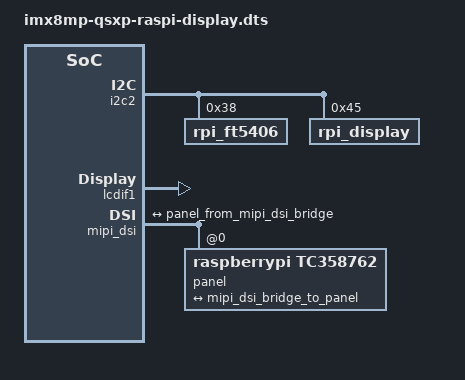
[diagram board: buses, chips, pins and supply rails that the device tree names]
// SPDX-License-Identifier: (GPL-2.0 OR MIT)
/*
 * Copyright 2022 Lothar Waßmann <LW@KARO-electronics.de>
 *
 */

/dts-v1/;

/plugin/;

&{/chosen} {
	overlays {
		qsxp-raspi-display;
	};
};

&i2c2 {
	rpi_ft5406: rpi_ft5406@38 {
		compatible = "rpi_ft5406";
		reg = <0x38>;
	};

	rpi_display: rpi_display@45 {
		compatible = "rpi_display";
		reg = <0x45>;
	};
};

&lcdif1 {
	status = "okay";
};

&mipi_dsi {
	status = "okay";

	panel@0 {
		compatible = "raspberrypi,tc358762";
		reg = <0>;
		dsi-lanes = <1>;
		video-mode = <2>;
		panel-width-mm = <154>;
		panel-height-mm = <86>;

		port {
			panel_from_mipi_dsi_bridge: endpoint {
				remote-endpoint = <&mipi_dsi_bridge_to_panel>;
			};
		};
	};

	port@1 {
		reg = <1>;

		mipi_dsi_bridge_to_panel: endpoint {
			remote-endpoint = <&panel_from_mipi_dsi_bridge>;
		};
	};
};
